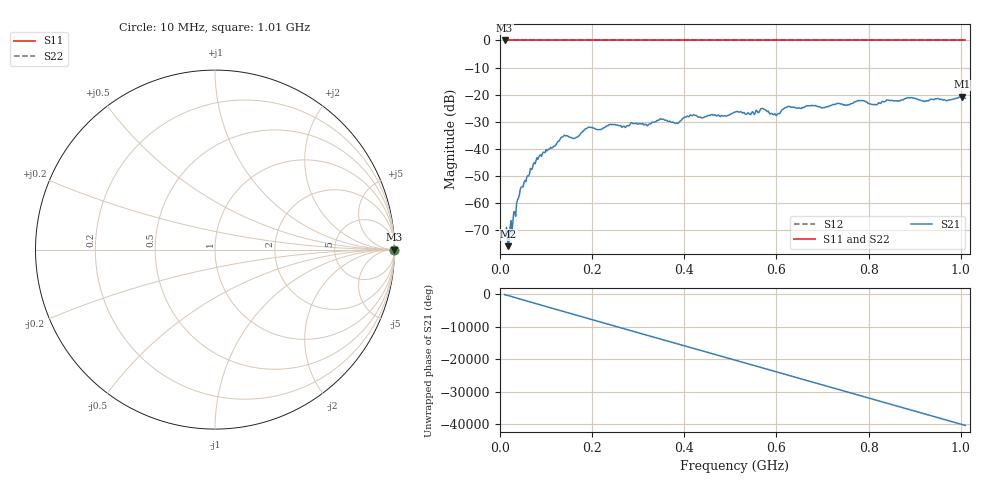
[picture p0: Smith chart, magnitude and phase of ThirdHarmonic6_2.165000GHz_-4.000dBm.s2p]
! 8/17/2025 1:50:07 AM
! C:\ANRITSUVNA\TEMP\TEMP.S2P
! CHANNEL.1
! TR.MEASUREMENT
! RAW.DATA
! RF.CORRECTION.OFF
! AVERAGING.OFF
! IF.BANDWIDTH: 5KHZ
! SWEEPTYPE:  FREQ.SWEEP(Linear)
! Reference Plane Port Info
! PORT:  PORT1  PORT2
! DISTANCE:  0  m  0  m
! TIME:  0  s  0  s
! PHASE.OFFSET:  0  deg.  0  deg.
! LOSS:  0  dB  0  dB
! REF.LOSS:  0  dB  0  dB
! REF.FREQ:  0  Hz  0  Hz
! Power Info
! POWER:  -20  dBm  -20  dBm
! EFF.POWER:  -20  dBm  -20  dBm
! SOURCE.ATTEN:  0  dB  0  dB
! TEST.ATTEN:  0  dB  0  dB
# GHZ S RI R 50.0
! FREQ.GHZ  S11RE  S11IM  S21RE  S21IM  S12RE  S12IM  S22RE  S22IM
!; PortSelection: Port_12
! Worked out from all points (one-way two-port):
!   501 points, 10 MHz to 1.01 GHz, reference 50 ohm
!   highest |S21| = -20.81 dB at 1.002 GHz (marker M1); lowest = -76.0 dB at 18 MHz (marker M2)
!   lowest |S11| = 0.0 dB at 10 MHz (marker M3)
!   |S11| at or under -10 dB: nowhere
!   |S22| runs from 0.0 to 0.0 dB; largest |S21 - S12| = 1.1
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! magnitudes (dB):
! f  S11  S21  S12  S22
! 10 MHz  0.0  -72.3  0.0  0.0
! 18 MHz  0.0  -76.0  0.0  0.0
! 22 MHz  0.0  -69.0  0.0  0.0
! 44 MHz  0.0  -55.0  0.0  0.0
! 76 MHz  0.0  -45.6  0.0  0.0
! 136 MHz  0.0  -35.7  0.0  0.0
! 162 MHz  0.0  -36.2  0.0  0.0
! 178 MHz  0.0  -33.9  0.0  0.0
! 194 MHz  0.0  -32.1  0.0  0.0
! 322 MHz  0.0  -31.1  0.0  0.0
! 344 MHz  0.0  -29.5  0.0  0.0
! 384 MHz  0.0  -30.5  0.0  0.0
! 416 MHz  0.0  -27.8  0.0  0.0
! 510 MHz  0.0  -26.4  0.0  0.0
! 570 MHz  0.0  -25.1  0.0  0.0
! 598 MHz  0.0  -27.5  0.0  0.0
! 624 MHz  0.0  -24.5  0.0  0.0
! 678 MHz  0.0  -24.1  0.0  0.0
! 814 MHz  0.0  -23.6  0.0  0.0
! 844 MHz  0.0  -22.1  0.0  0.0
! 1.002 GHz  0.0  -20.8  0.0  0.0
! 1.01 GHz  0.0  -21.4  0.0  0.0
